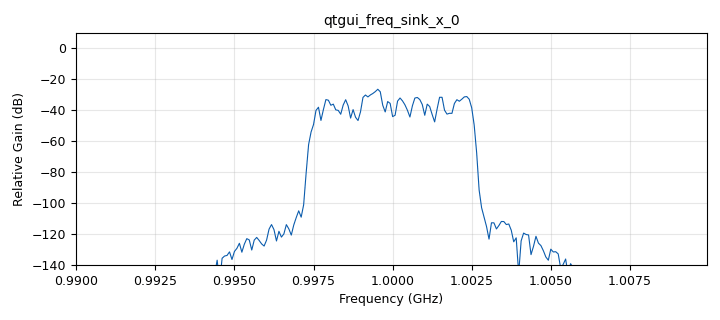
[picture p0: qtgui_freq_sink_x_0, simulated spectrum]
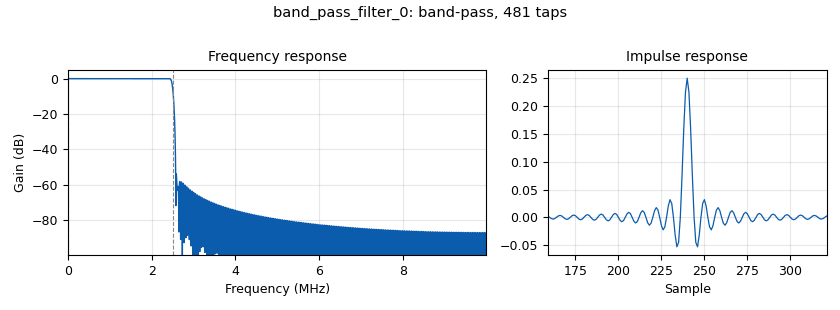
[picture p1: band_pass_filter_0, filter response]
options:
  parameters:
    category: Custom
    generate_options: qt_gui
    id: mpsk_stage1
    output_language: python
  states: {}

blocks:
- name: Center_Frequency
  id: variable_qtgui_range
  parameters:
    start: 500e6
    step: '1000'
    stop: 6000e6
    value: 1000e6
  states: {}
- name: excess_bw
  id: variable
  parameters:
    value: 2.6*variable_channel_size/10
  states: {}
- name: rrc_taps
  id: variable
  parameters:
    value: firdes.root_raised_cosine(1, sps, 1, excess_bw, 45)
  states: {}
- name: samp_rate
  id: variable
  parameters:
    value: 20e6
  states: {}
- name: sps
  id: variable
  parameters:
    value: '4'
  states: {}
- name: variable_channel_size
  id: variable_qtgui_chooser
  parameters:
    label0: 1.4 MHz
    label1: 3 MHz
    label2: 5 MHz
    label3: 10 MHz
    label4: 15 MHz
    num_opts: '5'
    option0: '1.4'
    option1: '3'
    option2: '5'
    option3: '10'
    option4: '15'
    type: real
    value: '5'
  states: {}
- name: analog_noise_source_x_0
  id: analog_noise_source_x
  parameters:
    amp: '1'
    noise_type: analog.GR_UNIFORM
    seed: '0'
    type: complex
  states: {}
- name: analog_sig_source_x_0
  id: analog_sig_source_x
  parameters:
    amp: '.02'
    freq: samp_rate-((.9*variable_channel_size*1e6)/2)
    offset: '0'
    phase: '0'
    samp_rate: samp_rate
    type: complex
    waveform: analog.GR_COS_WAVE
  states: {}
- name: analog_sig_source_x_0_0
  id: analog_sig_source_x
  parameters:
    amp: '.02'
    freq: samp_rate+((.9*variable_channel_size*1e6)/2)
    offset: '0'
    phase: '0'
    samp_rate: samp_rate
    type: complex
    waveform: analog.GR_COS_WAVE
  states: {}
- name: analog_sig_source_x_0_1
  id: analog_sig_source_x
  parameters:
    amp: '-.023'
    freq: samp_rate-((.7*variable_channel_size*1e6)/2)
    offset: '0'
    phase: '0'
    samp_rate: samp_rate
    type: complex
    waveform: analog.GR_COS_WAVE
  states: {}
- name: analog_sig_source_x_0_1_0
  id: analog_sig_source_x
  parameters:
    amp: '.025'
    freq: samp_rate+((.7*variable_channel_size*1e6)/2)
    offset: '0'
    phase: '0'
    samp_rate: samp_rate
    type: complex
    waveform: analog.GR_COS_WAVE
  states: {}
- name: band_pass_filter_0
  id: band_pass_filter
  parameters:
    decim: '1'
    gain: '1'
    high_cutoff_freq: variable_channel_size*1e6/2
    low_cutoff_freq: '1'
    samp_rate: samp_rate
    type: fir_filter_ccf
    width: 100e3
    win: window.WIN_HAMMING
  states: {}
- name: blocks_add_xx_0
  id: blocks_add_xx
  parameters:
    num_inputs: '5'
    type: complex
  states: {}
- name: blocks_throttle_0_0
  id: blocks_throttle
  parameters:
    samples_per_second: samp_rate
    type: complex
  states: {}
- name: fir_filter_xxx_0_0_0_0_0
  id: fir_filter_xxx
  parameters:
    decim: '1'
    taps: rrc_taps
    type: ccc
  states: {}
- name: osmosdr_sink_0
  id: osmosdr_sink
  parameters:
    args: ''
    bb_gain0: '20'
    freq0: Center_Frequency
    gain0: '20'
    if_gain0: '20'
    sample_rate: samp_rate
    sync: sync
    type: fc32
  states: {}
- name: qtgui_freq_sink_x_0
  id: qtgui_freq_sink_x
  parameters:
    bw: samp_rate
    fc: Center_Frequency
    fftsize: '256'
    type: complex
  states: {}

connections:
- [analog_noise_source_x_0, '0', blocks_throttle_0_0, '0']
- [analog_sig_source_x_0, '0', blocks_add_xx_0, '1']
- [analog_sig_source_x_0_0, '0', blocks_add_xx_0, '4']
- [analog_sig_source_x_0_1, '0', blocks_add_xx_0, '2']
- [analog_sig_source_x_0_1_0, '0', blocks_add_xx_0, '3']
- [band_pass_filter_0, '0', blocks_add_xx_0, '0']
- [blocks_add_xx_0, '0', osmosdr_sink_0, '0']
- [blocks_add_xx_0, '0', qtgui_freq_sink_x_0, '0']
- [blocks_throttle_0_0, '0', fir_filter_xxx_0_0_0_0_0, '0']
- [fir_filter_xxx_0_0_0_0_0, '0', band_pass_filter_0, '0']

metadata:
  file_format: 1
